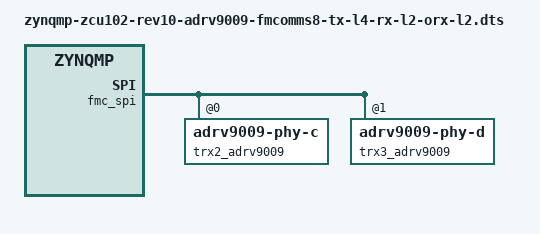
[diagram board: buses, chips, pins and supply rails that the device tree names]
// SPDX-License-Identifier: GPL-2.0
/*
 * Analog Devices AD-FMCOMMS8-EBZ (JESD204 FSM variant)
 * https://wiki.analog.com/resources/eval/user-guides/ad-fmcomms8-ebz
 * https://wiki.analog.com/resources/tools-software/linux-drivers/iio-transceiver/adrv9009
 * https://wiki.analog.com/resources/tools-software/linux-software/adrv9009_advanced_plugin
 *
 * hdl_project: <fmcomms8/zcu102>
 * board_revision: <>
 *
 * Copyright (C) 2022 Analog Devices Inc.
 */

#include "zynqmp-zcu102-rev10-adrv9009-fmcomms8-jesd204-fsm.dts"

&fmc_spi {
	trx2_adrv9009: adrv9009-phy-c@0 {
		/* JESD204 */

		/* JESD204 RX */
		adi,jesd204-framer-a-m = <4>;
		adi,jesd204-framer-a-f = <8>;
		adi,jesd204-framer-a-serializer-lanes-enabled = <0x01>;

		/* JESD204 OBS */
		adi,jesd204-framer-b-m = <2>;
		adi,jesd204-framer-b-serializer-lanes-enabled = <0x04>;

		/* JESD204 TX */
		adi,jesd204-deframer-a-deserializer-lanes-enabled = <0x03>;

		/* RX */
		adi,rx-profile-rx-fir-coefs = /bits/ 16 <(0) (0) (2) (4) (4) (-10)     \
		(-46) (-88) (-68) (78) (280) (278) (-154) (-772) (-792) (344) (1880)   \
		(1844) (-932) (-4528) (-4408) (2592) (14186) (23192) (23192) (14186)   \
		(2592) (-4408) (-4528) (-932) (1844) (1880) (344) (-792) (-772) (-154) \
		(278) (280) (78) (-68) (-88) (-46) (-10) (4) (4) (2) (0) (0)>;

		adi,rx-profile-rhb1-decimation = <2>;
		adi,rx-profile-rx-output-rate_khz = <122880>;
		adi,rx-profile-rf-bandwidth_hz = <60000000>;
		adi,rx-profile-rx-bbf3d-bcorner_khz = <60000>;
		adi,rx-profile-rx-adc-profile = /bits/ 16 <265 146 181 90 1280 366 \
		1257 27 1258 17 718 39 48 46 27 161 0 0 0 0 40 0 7 6 42 0 7 6 42 0 \
		25 27 0 0 25 27 0 0 165 44 31 905>;

		/* ORX */
		adi,orx-profile-rx-fir-decimation = <1>;
		adi,orx-settings-obs-rx-channels-enable = <1>;

		/* TX */
		adi,tx-settings-tx-channels = <1>;

		/* Clocks */
		adi,dig-clocks-device-clock_khz = <122880>;
	};
	trx3_adrv9009: adrv9009-phy-d@1 {
		/* JESD204 */

		/* JESD204 RX */
		adi,jesd204-framer-a-m = <4>;
		adi,jesd204-framer-a-f = <8>;
		adi,jesd204-framer-a-serializer-lanes-enabled = <0x01>;

		/* JESD204 OBS */
		adi,jesd204-framer-b-m = <2>;
		adi,jesd204-framer-b-serializer-lanes-enabled = <0x04>;

		/* JESD204 TX */
		adi,jesd204-deframer-a-deserializer-lanes-enabled = <0x03>;

		/* RX */
		adi,rx-profile-rx-fir-coefs = /bits/ 16 <(0) (0) (2) (4) (4) (-10)     \
		(-46) (-88) (-68) (78) (280) (278) (-154) (-772) (-792) (344) (1880)   \
		(1844) (-932) (-4528) (-4408) (2592) (14186) (23192) (23192) (14186)   \
		(2592) (-4408) (-4528) (-932) (1844) (1880) (344) (-792) (-772) (-154) \
		(278) (280) (78) (-68) (-88) (-46) (-10) (4) (4) (2) (0) (0)>;

		adi,rx-profile-rhb1-decimation = <2>;
		adi,rx-profile-rx-output-rate_khz = <122880>;
		adi,rx-profile-rf-bandwidth_hz = <60000000>;
		adi,rx-profile-rx-bbf3d-bcorner_khz = <60000>;
		adi,rx-profile-rx-adc-profile = /bits/ 16 <265 146 181 90 1280 366 \
		1257 27 1258 17 718 39 48 46 27 161 0 0 0 0 40 0 7 6 42 0 7 6 42 0 \
		25 27 0 0 25 27 0 0 165 44 31 905>;

		/* ORX */
		adi,orx-profile-rx-fir-decimation = <1>;
		adi,orx-settings-obs-rx-channels-enable = <1>;

		/* TX */
		adi,tx-settings-tx-channels = <1>;

		/* Clocks */
		adi,dig-clocks-device-clock_khz = <122880>;
		};
	};
/ {
	fpga_axi: fpga-axi@0 {

		rx_dma: dma@9d420000 {
			adi,channels {
				dma-channel@0 {
					adi,source-bus-width = <128>;
					adi,destination-bus-width = <128>;
				};
			};
		};

		rx_obs_dma: dma@9d440000 {
			adi,channels {
				dma-channel@0 {
					adi,source-bus-width = <64>;
					adi,destination-bus-width = <128>;
				};
			};
		};

		tx_dma: dma@9d400000  {
			adi,channels {
				dma-channel@0 {
					adi,source-bus-width = <128>;
					adi,destination-bus-width = <128>;
				};
			};
		};

		axi_adrv9009_rx_jesd: axi-jesd204-rx@85a50000 {
			clocks = <&zynqmp_clk 71>, <&hmc7044_fmc 9>, <&axi_adrv9009_adxcvr_rx 1>, <&axi_adrv9009_adxcvr_rx 0>;
			clock-names = "s_axi_aclk", "device_clk", "link_clk", "lane_clk";

			adi,octets-per-frame = <8>;
		};

		axi_adrv9009_tx_jesd: axi-jesd204-tx@85a30000 {
			adi,converters-per-device = <2>;
		};
	};
};

